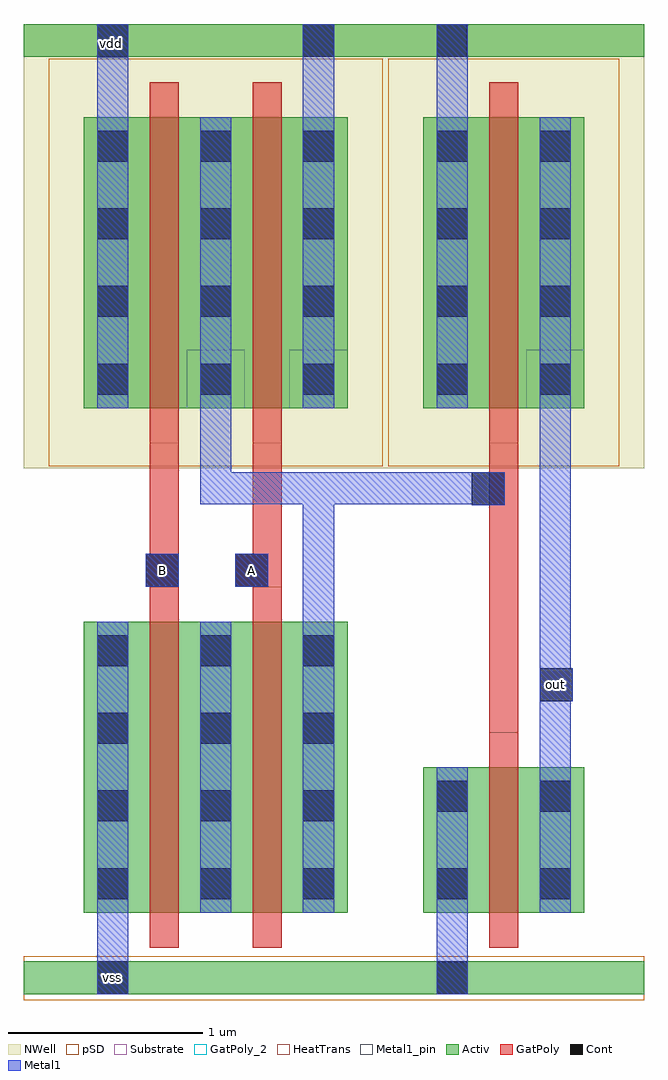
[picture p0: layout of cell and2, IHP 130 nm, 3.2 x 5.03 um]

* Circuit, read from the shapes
.subckt and2 A B out vdd vss
XM1 n1 B vss vss sg13_lv_nmos w=1.5u l=0.15u
XM2 n2 A n1 vss sg13_lv_nmos w=1.5u l=0.15u
XM3 out n2 vss vss sg13_lv_nmos w=0.75u l=0.15u
XM4 n2 B vdd vdd sg13_lv_pmos w=1.5u l=0.15u
XM5 vdd A n2 vdd sg13_lv_pmos w=1.5u l=0.15u
XM6 out n2 vdd vdd sg13_lv_pmos w=1.5u l=0.15u
.ends

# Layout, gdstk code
import gdstk
lib = gdstk.Library(unit=1e-6, precision=5e-09)
def R(c, l, rs):  # rectangles x0, y0, x1, y1
    for r in rs: c.add(gdstk.rectangle(r[:2], r[2:], *l))
def A(c, l, x, y, w, h, nx, ny, dx, dy):  # array of equal rectangles
    R(c, l, [(x+i*dx, y+j*dy, x+i*dx+w, y+j*dy+h) for i in range(nx) for j in range(ny)])
Activ = (1, 0)
GatPoly = (5, 0)
GatPoly_2 = (5, 2)
Cont = (6, 0)
Metal1 = (8, 0)
Metal1_pin = (8, 2)
pSD = (14, 0)
NWell = (31, 0)
Substrate = (40, 0)
HeatTrans = (51, 0)

pmos_1_1 = lib.new_cell('pmos$1$1')
R(pmos_1_1, Activ, [(0,0,0.3,0.3), (0,0,0.83,1.5), (0.53,0,0.83,0.3)])
R(pmos_1_1, GatPoly, [(0.34,-0.18,0.49,1.68), (0.34,-0.18,0.49,1.68)])
A(pmos_1_1, Cont, 0.07, 0.07, 0.16, 0.16, 1, 4, 0, 0.4)
A(pmos_1_1, Cont, 0.6, 0.07, 0.16, 0.16, 1, 4, 0, 0.4)
R(pmos_1_1, Metal1, [(0.07,0,0.23,1.5), (0.07,0,0.23,1.5), (0.6,0,0.76,1.5), (0.6,0,0.76,1.5)])
R(pmos_1_1, pSD, [(-0.18,-0.3,1.01,1.8)])
R(pmos_1_1, NWell, [(-0.31,-0.31,1.14,1.81)])
R(pmos_1_1, Substrate, [(0.53,0,0.83,0.3)])
R(pmos_1_1, HeatTrans, [(0.34,-0.18,0.49,1.68)])
pmos_1_1.add(gdstk.Label('pmos', (0.415,0.75), layer=63, texttype=0))
pmos_1_1.add(gdstk.Label('pmos', (0.415,0.75), layer=51, texttype=0))

nmos_1_17 = lib.new_cell('nmos$1$17')
R(nmos_1_17, Activ, [(0,0,0.3,0.3), (0,0,0.83,1.5), (0.53,0,0.83,0.3)])
R(nmos_1_17, GatPoly, [(0.34,-0.18,0.49,1.68)])
R(nmos_1_17, GatPoly_2, [(0.34,-0.18,0.49,1.68)])
A(nmos_1_17, Cont, 0.07, 0.07, 0.16, 0.16, 1, 4, 0, 0.4)
A(nmos_1_17, Cont, 0.6, 0.07, 0.16, 0.16, 1, 4, 0, 0.4)
R(nmos_1_17, Metal1, [(0.07,0,0.23,1.5), (0.6,0,0.76,1.5)])
R(nmos_1_17, Metal1_pin, [(0.07,0,0.23,1.5), (0.6,0,0.76,1.5)])
R(nmos_1_17, HeatTrans, [(0.34,-0.18,0.49,1.68)])
nmos_1_17.add(gdstk.Label('nmos', (0.415,0.75), layer=63, texttype=0))
nmos_1_17.add(gdstk.Label('nmos', (0.415,0.75), layer=51, texttype=0))

nmos_1 = lib.new_cell('nmos$1')
R(nmos_1, Activ, [(0,0,0.3,0.3), (0,0,0.83,0.75), (0.53,0,0.83,0.3)])
R(nmos_1, GatPoly, [(0.34,-0.18,0.49,0.93)])
R(nmos_1, GatPoly_2, [(0.34,-0.18,0.49,0.93)])
R(nmos_1, Cont, [(0.07,0.07,0.23,0.23), (0.6,0.07,0.76,0.23), (0.07,0.52,0.23,0.68), (0.6,0.52,0.76,0.68)])
R(nmos_1, Metal1, [(0.07,0,0.23,0.75), (0.6,0,0.76,0.75)])
R(nmos_1, Metal1_pin, [(0.07,0,0.23,0.75), (0.6,0,0.76,0.75)])
R(nmos_1, HeatTrans, [(0.34,-0.18,0.49,0.93)])
nmos_1.add(gdstk.Label('nmos', (0.415,0.375), layer=63, texttype=0))
nmos_1.add(gdstk.Label('nmos', (0.415,0.375), layer=51, texttype=0))

and2 = lib.new_cell('and2')
R(and2, Activ, [(-1.04,-2.415,2.16,-2.245), (-1.04,2.415,2.16,2.585)])
R(and2, GatPoly, [(1.36,-1.065,1.51,0.425), (-0.41,-0.315,-0.39,-0.145), (-0.39,-0.315,-0.24,0.425), (0.05,-0.315,0.14,-0.145), (0.14,-0.315,0.29,0.425)])
R(and2, Cont, [(-0.66,-2.415,-0.5,-2.245), (1.09,-2.415,1.25,-2.245), (1.62,-0.905,1.79,-0.735), (-0.41,-0.315,-0.24,-0.145), (-0.41,-0.315,-0.24,-0.145), (0.05,-0.315,0.22,-0.145), (0.05,-0.315,0.22,-0.145), (1.27,0.105,1.44,0.275), (-0.66,2.415,-0.5,2.585), (0.4,2.415,0.56,2.585), (1.09,2.415,1.245,2.585)])
R(and2, Metal1, [(-0.66,-2.415,-0.5,-1.925), (1.09,-2.415,1.25,-1.925), (1.62,-1.315,1.78,0.675), (1.62,-0.905,1.79,-0.735), (0.4,-0.565,0.56,0.275), (-0.41,-0.315,-0.24,-0.145), (0.05,-0.315,0.22,-0.145), (1.27,0.105,1.44,0.275), (-0.13,0.11,1.44,0.275), (-0.13,0.11,0.03,0.675), (-0.66,2.035,-0.5,2.585), (0.4,2.035,0.56,2.585), (1.09,2.035,1.25,2.585)])
R(and2, Metal1_pin, [(-0.66,-2.415,-0.5,-2.245), (1.09,-2.415,1.25,-2.25), (1.62,-0.905,1.79,-0.735), (1.27,0.105,1.44,0.275), (-0.66,2.41,-0.5,2.585), (0.4,2.415,0.56,2.585), (1.09,2.415,1.245,2.585)])
R(and2, pSD, [(-1.04,-2.445,2.16,-2.22)])
R(and2, NWell, [(-1.04,2.415,2.16,2.585)])
and2.add(gdstk.Reference(pmos_1_1, (-0.73,0.605)))
and2.add(gdstk.Reference(nmos_1_17, (-0.73,-1.995)))
and2.add(gdstk.Reference(pmos_1_1, (-0.2,0.605)))
and2.add(gdstk.Reference(nmos_1, (1.02,-1.995)))
and2.add(gdstk.Reference(pmos_1_1, (1.02,0.605)))
and2.add(gdstk.Reference(nmos_1_17, (-0.2,-1.995)))
and2.add(gdstk.Label('vdd', (-0.585,2.485), layer=8, texttype=2))
and2.add(gdstk.Label('vss', (-0.58,-2.33), layer=8, texttype=2))
and2.add(gdstk.Label('B', (-0.325,-0.23), layer=8, texttype=2))
and2.add(gdstk.Label('A', (0.135,-0.23), layer=8, texttype=2))
and2.add(gdstk.Label('out', (1.7,-0.82), layer=8, texttype=2))

lib.write_gds('and2.gds')
